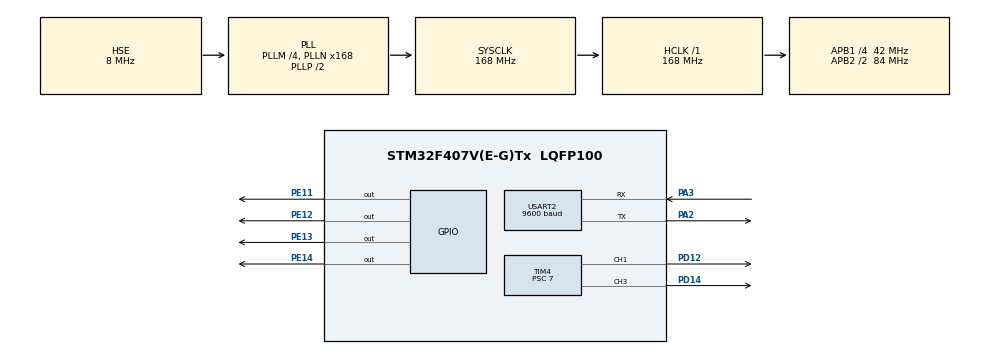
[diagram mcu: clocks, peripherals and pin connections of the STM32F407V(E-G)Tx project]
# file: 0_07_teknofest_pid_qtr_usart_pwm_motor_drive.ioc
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Mcu.Family=STM32F4
Mcu.Name=STM32F407V(E-G)Tx
Mcu.Package=LQFP100
NVIC.PriorityGroup=NVIC_PRIORITYGROUP_4
NVIC.USART2_IRQn=true\:0\:0\:false\:false\:true\:true\:true
PA2.Mode=Asynchronous
PA2.Signal=USART2_TX
PA3.Mode=Asynchronous
PA3.Signal=USART2_RX
PD12.Signal=S_TIM4_CH1
PD14.Signal=S_TIM4_CH3
PE11.Signal=GPIO_Output
PE12.Signal=GPIO_Output
PE13.Signal=GPIO_Output
PE14.Signal=GPIO_Output
PH0-OSC_IN.Mode=HSE-External-Oscillator
PH0-OSC_IN.Signal=RCC_OSC_IN
PH1-OSC_OUT.Mode=HSE-External-Oscillator
PH1-OSC_OUT.Signal=RCC_OSC_OUT
ProjectManager.HeapSize=0x200
ProjectManager.StackSize=0x400
ProjectManager.TargetToolchain=TrueSTUDIO
RCC.48MHZClocksFreq_Value=84000000
RCC.AHBFreq_Value=168000000
RCC.APB1CLKDivider=RCC_HCLK_DIV4
RCC.APB1Freq_Value=42000000
RCC.APB1TimFreq_Value=84000000
RCC.APB2CLKDivider=RCC_HCLK_DIV2
RCC.APB2Freq_Value=84000000
RCC.APB2TimFreq_Value=168000000
RCC.CortexFreq_Value=168000000
RCC.HCLKFreq_Value=168000000
RCC.HSE_VALUE=8000000
RCC.HSI_VALUE=16000000
RCC.LSE_VALUE=32768
RCC.PLLM=4
RCC.PLLN=168
RCC.PLLSourceVirtual=RCC_PLLSOURCE_HSE
RCC.SYSCLKFreq_VALUE=168000000
RCC.SYSCLKSource=RCC_SYSCLKSOURCE_PLLCLK
RCC.VCOOutputFreq_Value=336000000
SH.S_TIM4_CH1.0=TIM4_CH1,PWM Generation1 CH1
SH.S_TIM4_CH3.0=TIM4_CH3,PWM Generation3 CH3
TIM4.Channel-PWM\ Generation1\ CH1=TIM_CHANNEL_1
TIM4.Channel-PWM\ Generation3\ CH3=TIM_CHANNEL_3
TIM4.Period=19999
TIM4.Prescaler=7
USART2.BaudRate=9600
USART2.VirtualMode=VM_ASYNC
board=custom

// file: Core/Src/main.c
/* USER CODE BEGIN Header */
/**
  ******************************************************************************
  * @file           : main.c
  * @brief          : Main program body
  ******************************************************************************
  * @attention
  *
  * Copyright (c) 2022 STMicroelectronics.
  * All rights reserved.
  *
  * This software is licensed under terms that can be found in the LICENSE file
  * in the root directory of this software component.
  * If no LICENSE file comes with this software, it is provided AS-IS.
  *
  ******************************************************************************
  */
/* USER CODE END Header */
#include "main.h"

TIM_HandleTypeDef htim4;

UART_HandleTypeDef huart2;

void SystemClock_Config(void);
static void MX_GPIO_Init(void);
static void MX_TIM4_Init(void);
static void MX_USART2_UART_Init(void);

/* USER CODE BEGIN 0 */

#define rightMotor1 GPIO_PIN_11
#define rightMotor2 GPIO_PIN_12
#define leftMotor1 GPIO_PIN_13
#define leftMotor2 GPIO_PIN_14

#define stmMaxPulse 8000

//pwm usart variable
uint32_t pulseUartSol=0, pulseUartSag=0;
char pwmPulseUartCharSol[10];
char pwmPulseUartCharSag[10];

//usart2 variable
char rx_buffer[50];
char rx_byte[1];
char tx_buffer[50];
int size=0;

uint32_t map(long A,long B,long C,long D,long E){

	return ((A*E)/C);

}

//usart2 interrupt
void USART2_IRQHandler(void)
{
  /* USER CODE BEGIN USART2_IRQn 0 */
   char rx_byte[1];

   HAL_UART_Receive(&huart2,&rx_byte[0],1,100);

   rx_buffer[size++]=rx_byte[0];

   if(rx_byte[0]=='\n'){
	   //come message is send

	   //HAL_UART_Transmit(&huart2,&rx_buffer,size,100);
	   uartMessageDebug(rx_buffer);
	   //buffer is clear
	  	  for(int a=0;a<50;a++){
	       	rx_buffer[a]='\0';
	       	}
	      size=0;
   }

  /* USER CODE END USART2_IRQn 0 */
  HAL_UART_IRQHandler(&huart2);
  /* USER CODE BEGIN USART2_IRQn 1 */
  /* USER CODE END USART2_IRQn 1 */
}

void uartMessageDebug(volatile char *s){

	if( s[0]=='p' && s[1]=='i' && s[2]=='d'  && s[3]==',' ){
		forward();
		 int temp=0;
		 short k=4,mSol=0,mSag=0;
		 while(1){
			 if( s[k] != '\n'){
				 if(s[k] == ','){
					 temp = 1;
					 k++;
				 }
				 if(temp==1){
					 pwmPulseUartCharSol[mSol]=s[k];   //sol
					 mSol++;
				 }else{
					 pwmPulseUartCharSag[mSag]=s[k];  //sag
					 mSag++;
				 }
			       k++;
			 }else {
				pwmPulseUartCharSol[mSol] =s[k];
				pwmPulseUartCharSag[mSag] =s[k];

			   pulseUartSol=atoi(pwmPulseUartCharSol);
			   pulseUartSag=atoi(pwmPulseUartCharSag);

			   pulseUartSol= map(pulseUartSol,0,100,0,stmMaxPulse);
			   pulseUartSag =map(pulseUartSag,0,100,0,stmMaxPulse);

			   for(int a=0;a<10;a++){
				   pwmPulseUartCharSol[a]='\0';
				   pwmPulseUartCharSag[a]='\0';
			   }
			   temp = 1,k=4,mSol=0,mSag=0;
			   break;
			  }

		 }

	  }

else if( s[0]=='d' && s[1]=='u' && s[2]=='r' ){
	   stop();
    }
  else if( s[0]=='s' && s[1]=='a' && s[2]=='g' ){
	  right();
      }
  else if( s[0]=='s' && s[1]=='o' && s[2]=='l' ){
	  left();
    }

 }

void forward(){

	    HAL_GPIO_WritePin(GPIOE,rightMotor1,GPIO_PIN_SET);
		HAL_GPIO_WritePin(GPIOE,rightMotor2,GPIO_PIN_RESET);
		HAL_GPIO_WritePin(GPIOE,leftMotor1,GPIO_PIN_RESET);
		HAL_GPIO_WritePin(GPIOE,leftMotor2,GPIO_PIN_SET);
}

void left(){

	HAL_GPIO_WritePin(GPIOE,rightMotor1,GPIO_PIN_SET);
	HAL_GPIO_WritePin(GPIOE,rightMotor2,GPIO_PIN_RESET);
	HAL_GPIO_WritePin(GPIOE,leftMotor1,GPIO_PIN_SET);
	HAL_GPIO_WritePin(GPIOE,leftMotor2,GPIO_PIN_RESET);
	pulseUartSol= map(0,0,255,0,10000);
	pulseUartSag =map(240,0,255,0,10000);

}
void right(){
	HAL_GPIO_WritePin(GPIOE,rightMotor1,GPIO_PIN_RESET);
	HAL_GPIO_WritePin(GPIOE,rightMotor2,GPIO_PIN_SET);
	HAL_GPIO_WritePin(GPIOE,leftMotor1,GPIO_PIN_RESET);
	HAL_GPIO_WritePin(GPIOE,leftMotor2,GPIO_PIN_SET);
	pulseUartSol= map(240,0,255,0,10000);
	pulseUartSag =map(0,0,255,0,10000);

}
void stop(){
	HAL_GPIO_WritePin(GPIOE,rightMotor1,GPIO_PIN_RESET);
	HAL_GPIO_WritePin(GPIOE,rightMotor2,GPIO_PIN_RESET);
	HAL_GPIO_WritePin(GPIOE,leftMotor1,GPIO_PIN_RESET);
	HAL_GPIO_WritePin(GPIOE,leftMotor2,GPIO_PIN_RESET);
	pulseUartSol=0;
	pulseUartSag=0;
}
/* USER CODE END 0 */

int main(void)
{

  /* MCU Configuration--------------------------------------------------------*/

  /* Reset of all peripherals, Initializes the Flash interface and the Systick. */
  HAL_Init();

  /* Configure the system clock */
  SystemClock_Config();

  /* Initialize all configured peripherals */
  MX_GPIO_Init();
  MX_TIM4_Init();
  MX_USART2_UART_Init();
  /* USER CODE BEGIN 2 */

        HAL_TIM_PWM_Start(&htim4,TIM_CHANNEL_1);
    	HAL_TIM_PWM_Start(&htim4,TIM_CHANNEL_3);
      __HAL_UART_ENABLE_IT(&huart2,UART_IT_RXNE);

	    HAL_GPIO_WritePin(GPIOE,rightMotor1,GPIO_PIN_RESET);
		HAL_GPIO_WritePin(GPIOE,rightMotor2,GPIO_PIN_RESET);
		HAL_GPIO_WritePin(GPIOE,leftMotor1, GPIO_PIN_RESET);
		HAL_GPIO_WritePin(GPIOE,leftMotor2, GPIO_PIN_RESET);

		__HAL_TIM_SetCompare(&htim4,TIM_CHANNEL_1,0);
		__HAL_TIM_SetCompare(&htim4,TIM_CHANNEL_3,0);

  /* USER CODE END 2 */

  /* Infinite loop */
  while (1)
  {

    /* USER CODE BEGIN 3 */

	     __HAL_TIM_SetCompare(&htim4,TIM_CHANNEL_1,10000);

		 __HAL_TIM_SetCompare(&htim4,TIM_CHANNEL_3,10000);
  }
  /* USER CODE END 3 */
}

void SystemClock_Config(void)
{
  RCC_OscInitTypeDef RCC_OscInitStruct = {0};
  RCC_ClkInitTypeDef RCC_ClkInitStruct = {0};

  /** Configure the main internal regulator output voltage
  */
  __HAL_RCC_PWR_CLK_ENABLE();
  __HAL_PWR_VOLTAGESCALING_CONFIG(PWR_REGULATOR_VOLTAGE_SCALE1);
  /** Initializes the RCC Oscillators according to the specified parameters
  * in the RCC_OscInitTypeDef structure.
  */
  RCC_OscInitStruct.OscillatorType = RCC_OSCILLATORTYPE_HSE;
  RCC_OscInitStruct.HSEState = RCC_HSE_ON;
  RCC_OscInitStruct.PLL.PLLState = RCC_PLL_ON;
  RCC_OscInitStruct.PLL.PLLSource = RCC_PLLSOURCE_HSE;
  RCC_OscInitStruct.PLL.PLLM = 4;
  RCC_OscInitStruct.PLL.PLLN = 168;
  RCC_OscInitStruct.PLL.PLLP = RCC_PLLP_DIV2;
  RCC_OscInitStruct.PLL.PLLQ = 4;
  if (HAL_RCC_OscConfig(&RCC_OscInitStruct) != HAL_OK)
  {
    Error_Handler();
  }
  /** Initializes the CPU, AHB and APB buses clocks
  */
  RCC_ClkInitStruct.ClockType = RCC_CLOCKTYPE_HCLK|RCC_CLOCKTYPE_SYSCLK
                              |RCC_CLOCKTYPE_PCLK1|RCC_CLOCKTYPE_PCLK2;
  RCC_ClkInitStruct.SYSCLKSource = RCC_SYSCLKSOURCE_PLLCLK;
  RCC_ClkInitStruct.AHBCLKDivider = RCC_SYSCLK_DIV1;
  RCC_ClkInitStruct.APB1CLKDivider = RCC_HCLK_DIV4;
  RCC_ClkInitStruct.APB2CLKDivider = RCC_HCLK_DIV2;

  if (HAL_RCC_ClockConfig(&RCC_ClkInitStruct, FLASH_LATENCY_5) != HAL_OK)
  {
    Error_Handler();
  }
}

static void MX_TIM4_Init(void)
{

  TIM_MasterConfigTypeDef sMasterConfig = {0};
  TIM_OC_InitTypeDef sConfigOC = {0};

  htim4.Instance = TIM4;
  htim4.Init.Prescaler = 7;
  htim4.Init.CounterMode = TIM_COUNTERMODE_UP;
  htim4.Init.Period = 19999;
  htim4.Init.ClockDivision = TIM_CLOCKDIVISION_DIV1;
  htim4.Init.AutoReloadPreload = TIM_AUTORELOAD_PRELOAD_DISABLE;
  if (HAL_TIM_PWM_Init(&htim4) != HAL_OK)
  {
    Error_Handler();
  }
  sMasterConfig.MasterOutputTrigger = TIM_TRGO_RESET;
  sMasterConfig.MasterSlaveMode = TIM_MASTERSLAVEMODE_DISABLE;
  if (HAL_TIMEx_MasterConfigSynchronization(&htim4, &sMasterConfig) != HAL_OK)
  {
    Error_Handler();
  }
  sConfigOC.OCMode = TIM_OCMODE_PWM1;
  sConfigOC.Pulse = 0;
  sConfigOC.OCPolarity = TIM_OCPOLARITY_HIGH;
  sConfigOC.OCFastMode = TIM_OCFAST_DISABLE;
  if (HAL_TIM_PWM_ConfigChannel(&htim4, &sConfigOC, TIM_CHANNEL_1) != HAL_OK)
  {
    Error_Handler();
  }
  if (HAL_TIM_PWM_ConfigChannel(&htim4, &sConfigOC, TIM_CHANNEL_3) != HAL_OK)
  {
    Error_Handler();
  }
  HAL_TIM_MspPostInit(&htim4);

}

static void MX_USART2_UART_Init(void)
{

  huart2.Instance = USART2;
  huart2.Init.BaudRate = 9600;
  huart2.Init.WordLength = UART_WORDLENGTH_8B;
  huart2.Init.StopBits = UART_STOPBITS_1;
  huart2.Init.Parity = UART_PARITY_NONE;
  huart2.Init.Mode = UART_MODE_TX_RX;
  huart2.Init.HwFlowCtl = UART_HWCONTROL_NONE;
  huart2.Init.OverSampling = UART_OVERSAMPLING_16;
  if (HAL_UART_Init(&huart2) != HAL_OK)
  {
    Error_Handler();
  }

}

static void MX_GPIO_Init(void)
{
  GPIO_InitTypeDef GPIO_InitStruct = {0};

  /* GPIO Ports Clock Enable */
  __HAL_RCC_GPIOH_CLK_ENABLE();
  __HAL_RCC_GPIOA_CLK_ENABLE();
  __HAL_RCC_GPIOE_CLK_ENABLE();
  __HAL_RCC_GPIOD_CLK_ENABLE();

  /*Configure GPIO pin Output Level */
  HAL_GPIO_WritePin(GPIOE, GPIO_PIN_11|GPIO_PIN_12|GPIO_PIN_13|GPIO_PIN_14, GPIO_PIN_RESET);

  /*Configure GPIO pins : PE11 PE12 PE13 PE14 */
  GPIO_InitStruct.Pin = GPIO_PIN_11|GPIO_PIN_12|GPIO_PIN_13|GPIO_PIN_14;
  GPIO_InitStruct.Mode = GPIO_MODE_OUTPUT_PP;
  GPIO_InitStruct.Pull = GPIO_NOPULL;
  GPIO_InitStruct.Speed = GPIO_SPEED_FREQ_LOW;
  HAL_GPIO_Init(GPIOE, &GPIO_InitStruct);

}

void Error_Handler(void)
{
  __disable_irq();
  while (1)
  {
  }
}
